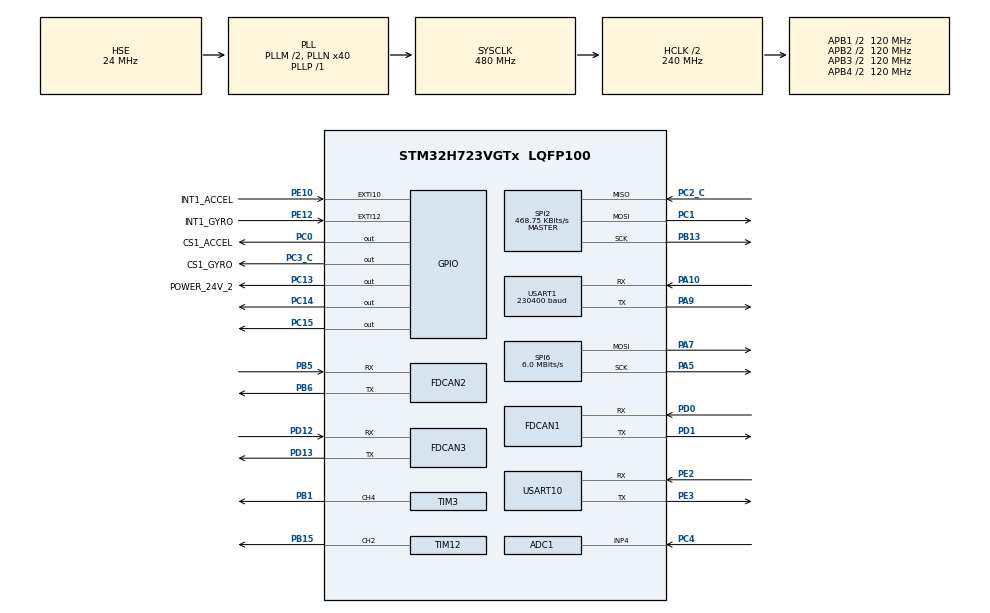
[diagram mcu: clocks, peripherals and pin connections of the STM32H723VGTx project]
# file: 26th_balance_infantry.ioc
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ADC1.Channel-0\#ChannelRegularConversion=ADC_CHANNEL_4
ADC1.Channel-1\#ChannelRegularConversion=ADC_CHANNEL_4
ADC1.ContinuousConvMode=ENABLE
ADC1.ConversionDataManagement=ADC_CONVERSIONDATA_DMA_CIRCULAR
ADC1.NbrOfConversion=2
ADC1.NbrOfConversionFlag=1
ADC1.OffsetNumber-0\#ChannelRegularConversion=ADC_OFFSET_NONE
ADC1.OffsetNumber-1\#ChannelRegularConversion=ADC_OFFSET_NONE
ADC1.OffsetSignedSaturation-0\#ChannelRegularConversion=DISABLE
ADC1.OffsetSignedSaturation-1\#ChannelRegularConversion=DISABLE
ADC1.Rank-0\#ChannelRegularConversion=1
ADC1.Rank-1\#ChannelRegularConversion=2
ADC1.SamplingTime-0\#ChannelRegularConversion=ADC_SAMPLETIME_1CYCLE_5
ADC1.SamplingTime-1\#ChannelRegularConversion=ADC_SAMPLETIME_1CYCLE_5
ADC1.master=1
CORTEX_M7.AccessPermission_Spec=MPU_REGION_FULL_ACCESS
CORTEX_M7.BaseAddress_Spec=0x30000000
CORTEX_M7.CPU_DCache=Enabled
CORTEX_M7.CPU_ICache=Enabled
CORTEX_M7.DisableExec_Spec=MPU_INSTRUCTION_ACCESS_ENABLE
CORTEX_M7.Enable_S-Cortex_Memory_Protection_Unit_Region1_Settings_S=__NULL
CORTEX_M7.Enable_S-Cortex_Memory_Protection_Unit_Region2_Settings_S=__NULL
CORTEX_M7.Enable_S-Cortex_Memory_Protection_Unit_Region3_Settings_S=__NULL
CORTEX_M7.Enable_S-Cortex_Memory_Protection_Unit_Region4_Settings_S=__NULL
CORTEX_M7.Enable_S-Cortex_Memory_Protection_Unit_Region5_Settings_S=__NULL
CORTEX_M7.Enable_Spec=MPU_REGION_ENABLE
CORTEX_M7.IsBufferable_Spec=MPU_ACCESS_NOT_BUFFERABLE
CORTEX_M7.IsCacheable_Spec=MPU_ACCESS_NOT_CACHEABLE
CORTEX_M7.IsShareable_Spec=MPU_ACCESS_SHAREABLE
CORTEX_M7.Size_Spec=MPU_REGION_SIZE_32KB
CORTEX_M7.SubRegionDisable_Spec=0x0
CORTEX_M7.TypeExtField_Spec=MPU_TEX_LEVEL0
CORTEX_M7.default_mode_Activation=1
Dma.ADC1.2.Direction=DMA_PERIPH_TO_MEMORY
Dma.ADC1.2.EventEnable=DISABLE
Dma.ADC1.2.FIFOMode=DMA_FIFOMODE_DISABLE
Dma.ADC1.2.Instance=DMA1_Stream5
Dma.ADC1.2.MemDataAlignment=DMA_MDATAALIGN_HALFWORD
Dma.ADC1.2.MemInc=DMA_MINC_ENABLE
Dma.ADC1.2.Mode=DMA_NORMAL
Dma.ADC1.2.PeriphDataAlignment=DMA_PDATAALIGN_HALFWORD
Dma.ADC1.2.PeriphInc=DMA_PINC_DISABLE
Dma.ADC1.2.Polarity=HAL_DMAMUX_REQ_GEN_RISING
Dma.ADC1.2.Priority=DMA_PRIORITY_LOW
Dma.ADC1.2.RequestNumber=1
Dma.ADC1.2.SignalID=NONE
Dma.ADC1.2.SyncEnable=DISABLE
Dma.ADC1.2.SyncPolarity=HAL_DMAMUX_SYNC_NO_EVENT
Dma.ADC1.2.SyncRequestNumber=1
Dma.ADC1.2.SyncSignalID=NONE
Dma.Request0=SPI2_RX
Dma.Request1=SPI2_TX
Dma.Request2=ADC1
Dma.Request3=USART10_RX
Dma.Request4=USART10_TX
Dma.Request5=USART1_RX
Dma.SPI2_RX.0.Direction=DMA_PERIPH_TO_MEMORY
Dma.SPI2_RX.0.EventEnable=DISABLE
Dma.SPI2_RX.0.FIFOMode=DMA_FIFOMODE_DISABLE
Dma.SPI2_RX.0.Instance=DMA2_Stream3
Dma.SPI2_RX.0.MemDataAlignment=DMA_MDATAALIGN_BYTE
Dma.SPI2_RX.0.MemInc=DMA_MINC_ENABLE
Dma.SPI2_RX.0.Mode=DMA_NORMAL
Dma.SPI2_RX.0.PeriphDataAlignment=DMA_PDATAALIGN_BYTE
Dma.SPI2_RX.0.PeriphInc=DMA_PINC_DISABLE
Dma.SPI2_RX.0.Polarity=HAL_DMAMUX_REQ_GEN_RISING
Dma.SPI2_RX.0.Priority=DMA_PRIORITY_VERY_HIGH
Dma.SPI2_RX.0.RequestNumber=1
Dma.SPI2_RX.0.SignalID=NONE
Dma.SPI2_RX.0.SyncEnable=DISABLE
Dma.SPI2_RX.0.SyncPolarity=HAL_DMAMUX_SYNC_NO_EVENT
Dma.SPI2_RX.0.SyncRequestNumber=1
Dma.SPI2_RX.0.SyncSignalID=NONE
Dma.SPI2_TX.1.Direction=DMA_MEMORY_TO_PERIPH
Dma.SPI2_TX.1.EventEnable=DISABLE
Dma.SPI2_TX.1.FIFOMode=DMA_FIFOMODE_DISABLE
Dma.SPI2_TX.1.Instance=DMA1_Stream1
Dma.SPI2_TX.1.MemDataAlignment=DMA_MDATAALIGN_BYTE
Dma.SPI2_TX.1.MemInc=DMA_MINC_ENABLE
Dma.SPI2_TX.1.Mode=DMA_NORMAL
Dma.SPI2_TX.1.PeriphDataAlignment=DMA_PDATAALIGN_BYTE
Dma.SPI2_TX.1.PeriphInc=DMA_PINC_DISABLE
Dma.SPI2_TX.1.Polarity=HAL_DMAMUX_REQ_GEN_RISING
Dma.SPI2_TX.1.Priority=DMA_PRIORITY_HIGH
Dma.SPI2_TX.1.RequestNumber=1
Dma.SPI2_TX.1.SignalID=NONE
Dma.SPI2_TX.1.SyncEnable=DISABLE
Dma.SPI2_TX.1.SyncPolarity=HAL_DMAMUX_SYNC_NO_EVENT
Dma.SPI2_TX.1.SyncRequestNumber=1
Dma.SPI2_TX.1.SyncSignalID=NONE
Dma.USART10_RX.3.Direction=DMA_PERIPH_TO_MEMORY
Dma.USART10_RX.3.EventEnable=DISABLE
Dma.USART10_RX.3.FIFOMode=DMA_FIFOMODE_DISABLE
Dma.USART10_RX.3.Instance=DMA1_Stream0
Dma.USART10_RX.3.MemDataAlignment=DMA_MDATAALIGN_BYTE
Dma.USART10_RX.3.MemInc=DMA_MINC_ENABLE
Dma.USART10_RX.3.Mode=DMA_NORMAL
Dma.USART10_RX.3.PeriphDataAlignment=DMA_PDATAALIGN_BYTE
Dma.USART10_RX.3.PeriphInc=DMA_PINC_DISABLE
Dma.USART10_RX.3.Polarity=HAL_DMAMUX_REQ_GEN_RISING
Dma.USART10_RX.3.Priority=DMA_PRIORITY_MEDIUM
Dma.USART10_RX.3.RequestNumber=1
Dma.USART10_RX.3.SignalID=NONE
Dma.USART10_RX.3.SyncEnable=DISABLE
Dma.USART10_RX.3.SyncPolarity=HAL_DMAMUX_SYNC_NO_EVENT
Dma.USART10_RX.3.SyncRequestNumber=1
Dma.USART10_RX.3.SyncSignalID=NONE
Dma.USART10_TX.4.Direction=DMA_MEMORY_TO_PERIPH
Dma.USART10_TX.4.EventEnable=DISABLE
Dma.USART10_TX.4.FIFOMode=DMA_FIFOMODE_DISABLE
Dma.USART10_TX.4.Instance=DMA1_Stream2
Dma.USART10_TX.4.MemDataAlignment=DMA_MDATAALIGN_BYTE
Dma.USART10_TX.4.MemInc=DMA_MINC_ENABLE
Dma.USART10_TX.4.Mode=DMA_NORMAL
Dma.USART10_TX.4.PeriphDataAlignment=DMA_PDATAALIGN_BYTE
Dma.USART10_TX.4.PeriphInc=DMA_PINC_DISABLE
Dma.USART10_TX.4.Polarity=HAL_DMAMUX_REQ_GEN_RISING
Dma.USART10_TX.4.Priority=DMA_PRIORITY_MEDIUM
Dma.USART10_TX.4.RequestNumber=1
Dma.USART10_TX.4.SignalID=NONE
Dma.USART10_TX.4.SyncEnable=DISABLE
Dma.USART10_TX.4.SyncPolarity=HAL_DMAMUX_SYNC_NO_EVENT
Dma.USART10_TX.4.SyncRequestNumber=1
Dma.USART10_TX.4.SyncSignalID=NONE
Dma.USART1_RX.5.Direction=DMA_PERIPH_TO_MEMORY
Dma.USART1_RX.5.EventEnable=DISABLE
Dma.USART1_RX.5.FIFOMode=DMA_FIFOMODE_DISABLE
Dma.USART1_RX.5.Instance=DMA1_Stream3
Dma.USART1_RX.5.MemDataAlignment=DMA_MDATAALIGN_BYTE
Dma.USART1_RX.5.MemInc=DMA_MINC_ENABLE
Dma.USART1_RX.5.Mode=DMA_NORMAL
Dma.USART1_RX.5.PeriphDataAlignment=DMA_PDATAALIGN_BYTE
Dma.USART1_RX.5.PeriphInc=DMA_PINC_DISABLE
Dma.USART1_RX.5.Polarity=HAL_DMAMUX_REQ_GEN_RISING
Dma.USART1_RX.5.Priority=DMA_PRIORITY_LOW
Dma.USART1_RX.5.RequestNumber=1
Dma.USART1_RX.5.SignalID=NONE
Dma.USART1_RX.5.SyncEnable=DISABLE
Dma.USART1_RX.5.SyncPolarity=HAL_DMAMUX_SYNC_NO_EVENT
Dma.USART1_RX.5.SyncRequestNumber=1
Dma.USART1_RX.5.SyncSignalID=NONE
FDCAN1.CalculateBaudRateNominal=1000000
FDCAN1.CalculateTimeBitNominal=1000
FDCAN1.CalculateTimeQuantumNominal=25.0
FDCAN1.DataPrescaler=3
FDCAN1.DataSyncJumpWidth=10
FDCAN1.DataTimeSeg1=29
FDCAN1.DataTimeSeg2=10
FDCAN1.NominalPrescaler=3
FDCAN1.NominalSyncJumpWidth=10
FDCAN1.NominalTimeSeg1=29
FDCAN1.NominalTimeSeg2=10
FDCAN1.RxFifo0ElmtSize=FDCAN_DATA_BYTES_32
FDCAN1.RxFifo0ElmtsNbr=4
FDCAN1.StdFiltersNbr=1
FDCAN1.TxBuffersNbr=24
FDCAN1.TxElmtSize=FDCAN_DATA_BYTES_32
FDCAN1.TxFifoQueueElmtsNbr=8
FDCAN2.CalculateBaudRateNominal=1000000
FDCAN2.CalculateTimeBitNominal=1000
FDCAN2.CalculateTimeQuantumNominal=25.0
FDCAN2.DataPrescaler=3
FDCAN2.DataSyncJumpWidth=10
FDCAN2.DataTimeSeg1=29
FDCAN2.DataTimeSeg2=10
FDCAN2.ExtFiltersNbr=2
FDCAN2.MessageRAMOffset=854
FDCAN2.NominalPrescaler=3
FDCAN2.NominalSyncJumpWidth=10
FDCAN2.NominalTimeSeg1=29
FDCAN2.NominalTimeSeg2=10
FDCAN2.RxBufferSize=FDCAN_DATA_BYTES_64
FDCAN2.RxBuffersNbr=1
FDCAN2.RxFifo0ElmtSize=FDCAN_DATA_BYTES_32
FDCAN2.RxFifo0ElmtsNbr=0
FDCAN2.RxFifo1ElmtSize=FDCAN_DATA_BYTES_64
FDCAN2.RxFifo1ElmtsNbr=4
FDCAN2.StdFiltersNbr=2
FDCAN2.TxBuffersNbr=24
FDCAN2.TxElmtSize=FDCAN_DATA_BYTES_32
FDCAN2.TxEventsNbr=16
FDCAN2.TxFifoQueueElmtsNbr=8
FDCAN3.AutoRetransmission=ENABLE
FDCAN3.CalculateBaudRateNominal=1000000
FDCAN3.CalculateTimeBitNominal=1000
FDCAN3.CalculateTimeQuantumNominal=25.0
FDCAN3.DataPrescaler=3
FDCAN3.DataSyncJumpWidth=10
FDCAN3.DataTimeSeg1=29
FDCAN3.DataTimeSeg2=10
FDCAN3.MessageRAMOffset=1709
FDCAN3.NominalPrescaler=3
FDCAN3.NominalSyncJumpWidth=10
FDCAN3.NominalTimeSeg1=29
FDCAN3.NominalTimeSeg2=10
FDCAN3.RxBufferSize=FDCAN_DATA_BYTES_8
FDCAN3.RxBuffersNbr=0
FDCAN3.RxFifo0ElmtSize=FDCAN_DATA_BYTES_32
FDCAN3.RxFifo0ElmtsNbr=16
FDCAN3.StdFiltersNbr=1
FDCAN3.TxBuffersNbr=24
FDCAN3.TxElmtSize=FDCAN_DATA_BYTES_32
FDCAN3.TxFifoQueueElmtsNbr=8
FREERTOS.Tasks01=defaultTask,24,128,StartDefaultTask,Default,NULL,Dynamic,NULL,NULL
FREERTOS.configTOTAL_HEAP_SIZE=24576
Mcu.Family=STM32H7
Mcu.Name=STM32H723VGTx
Mcu.Package=LQFP100
NVIC.DMA1_Stream0_IRQn=true\:5\:0\:false\:false\:true\:true\:false\:true\:true
NVIC.DMA1_Stream1_IRQn=true\:5\:0\:true\:false\:true\:true\:false\:true\:true
NVIC.DMA1_Stream2_IRQn=true\:5\:0\:false\:false\:true\:true\:false\:true\:true
NVIC.DMA1_Stream3_IRQn=true\:5\:0\:false\:false\:true\:true\:false\:true\:true
NVIC.DMA1_Stream5_IRQn=true\:5\:0\:false\:false\:true\:true\:false\:true\:true
NVIC.DMA2_Stream3_IRQn=true\:5\:0\:false\:false\:true\:false\:false\:true\:true
NVIC.EXTI15_10_IRQn=true\:5\:0\:true\:false\:true\:true\:true\:true\:true
NVIC.FDCAN1_IT0_IRQn=true\:6\:0\:true\:false\:true\:true\:true\:true\:true
NVIC.FDCAN2_IT0_IRQn=true\:6\:0\:true\:false\:true\:true\:true\:true\:true
NVIC.FDCAN2_IT1_IRQn=true\:5\:0\:false\:false\:true\:true\:true\:true\:true
NVIC.FDCAN3_IT0_IRQn=true\:6\:0\:true\:false\:true\:true\:true\:true\:true
NVIC.FDCAN3_IT1_IRQn=true\:5\:0\:false\:false\:true\:true\:true\:true\:true
NVIC.PriorityGroup=NVIC_PRIORITYGROUP_4
NVIC.SPI2_IRQn=true\:5\:0\:true\:false\:true\:true\:false\:true\:true
NVIC.TIM2_IRQn=true\:15\:0\:false\:false\:true\:false\:false\:true\:true
NVIC.TimeBase=TIM2_IRQn
NVIC.TimeBaseIP=TIM2
NVIC.USART10_IRQn=true\:5\:0\:false\:false\:true\:true\:true\:true\:true
NVIC.USART1_IRQn=true\:5\:0\:false\:false\:true\:true\:true\:true\:true
PA10.Mode=Asynchronous
PA10.Signal=USART1_RX
PA13(JTMS/SWDIO).Mode=Serial_Wire
PA13(JTMS/SWDIO).Signal=DEBUG_JTMS-SWDIO
PA14(JTCK/SWCLK).Mode=Serial_Wire
PA14(JTCK/SWCLK).Signal=DEBUG_JTCK-SWCLK
PA5.GPIO_Speed=GPIO_SPEED_FREQ_VERY_HIGH
PA5.Mode=TX_Only_Simplex_Unidirect_Master
PA5.Signal=SPI6_SCK
PA7.GPIO_Speed=GPIO_SPEED_FREQ_VERY_HIGH
PA7.Mode=TX_Only_Simplex_Unidirect_Master
PA7.Signal=SPI6_MOSI
PA9.Mode=Asynchronous
PA9.Signal=USART1_TX
PB1.Signal=S_TIM3_CH4
PB13.GPIO_PuPd=GPIO_PULLUP
PB13.GPIO_Speed=GPIO_SPEED_FREQ_VERY_HIGH
PB13.Mode=Full_Duplex_Master
PB13.Signal=SPI2_SCK
PB15.Signal=S_TIM12_CH2
PB5.Mode=FDCAN_Activate
PB5.Signal=FDCAN2_RX
PB6.Mode=FDCAN_Activate
PB6.Signal=FDCAN2_TX
PC0.GPIO_Label=CS1_ACCEL
PC0.GPIO_PuPd=GPIO_PULLUP
PC0.GPIO_Speed=GPIO_SPEED_FREQ_HIGH
PC0.Signal=GPIO_Output
PC1.GPIO_PuPd=GPIO_PULLUP
PC1.GPIO_Speed=GPIO_SPEED_FREQ_VERY_HIGH
PC1.Mode=Full_Duplex_Master
PC1.Signal=SPI2_MOSI
PC13.GPIO_Label=POWER_24V_2
PC13.Signal=GPIO_Output
PC14-OSC32_IN.Signal=GPIO_Output
PC15-OSC32_OUT.PinState=GPIO_PIN_SET
PC15-OSC32_OUT.Signal=GPIO_Output
PC2_C.GPIO_PuPd=GPIO_PULLUP
PC2_C.GPIO_Speed=GPIO_SPEED_FREQ_VERY_HIGH
PC2_C.Mode=Full_Duplex_Master
PC2_C.Signal=SPI2_MISO
PC3_C.GPIO_Label=CS1_GYRO
PC3_C.GPIO_PuPd=GPIO_PULLUP
PC3_C.GPIO_Speed=GPIO_SPEED_FREQ_HIGH
PC3_C.Signal=GPIO_Output
PC4.Signal=ADCx_INP4
PD0.Mode=FDCAN_Activate
PD0.Signal=FDCAN1_RX
PD1.Mode=FDCAN_Activate
PD1.Signal=FDCAN1_TX
PD12.Mode=FDCAN_Activate
PD12.Signal=FDCAN3_RX
PD13.Mode=FDCAN_Activate
PD13.Signal=FDCAN3_TX
PD2.Signal=UART5_RX
PE10.GPIO_Label=INT1_ACCEL
PE10.GPIO_ModeDefaultEXTI=GPIO_MODE_IT_FALLING
PE10.GPIO_PuPd=GPIO_PULLUP
PE10.Signal=GPXTI10
PE12.GPIO_Label=INT1_GYRO
PE12.GPIO_ModeDefaultEXTI=GPIO_MODE_IT_FALLING
PE12.GPIO_PuPd=GPIO_PULLUP
PE12.Signal=GPXTI12
PE2.Mode=Asynchronous
PE2.Signal=USART10_RX
PE3.Mode=Asynchronous
PE3.Signal=USART10_TX
PH0-OSC_IN.Mode=HSE-External-Oscillator
PH0-OSC_IN.Signal=RCC_OSC_IN
PH1-OSC_OUT.Mode=HSE-External-Oscillator
PH1-OSC_OUT.Signal=RCC_OSC_OUT
ProjectManager.HeapSize=0x2000
ProjectManager.StackSize=0x2000
ProjectManager.TargetToolchain=CMake
RCC.ADCFreq_Value=96000000
RCC.APB1Freq_Value=120000000
RCC.APB2Freq_Value=120000000
RCC.APB3Freq_Value=120000000
RCC.APB4Freq_Value=120000000
RCC.CortexFreq_Value=480000000
RCC.D1PPRE=RCC_APB3_DIV2
RCC.D2PPRE1=RCC_APB1_DIV2
RCC.D2PPRE2=RCC_APB2_DIV2
RCC.D3PPRE=RCC_APB4_DIV2
RCC.DIVM1=2
RCC.DIVM2=2
RCC.DIVN1=40
RCC.DIVN2=16
RCC.DIVP1=1
RCC.DIVQ1=4
RCC.HCLKFreq_Value=240000000
RCC.HPRE=RCC_HCLK_DIV2
RCC.HSE_VALUE=24000000
RCC.PLLFRACN=0
RCC.PLLSourceVirtual=RCC_PLLSOURCE_HSE
RCC.SPI6CLockSelection=RCC_SPI6CLKSOURCE_HSE
RCC.SYSCLKFreq_VALUE=480000000
RCC.SYSCLKSource=RCC_SYSCLKSOURCE_PLLCLK
RCC.USBFreq_Value=120000000
SH.ADCx_INP4.0=ADC1_INP4,IN4-Single-Ended
SH.S_TIM12_CH2.0=TIM12_CH2,PWM Generation2 CH2
SH.S_TIM3_CH4.0=TIM3_CH4,PWM Generation4 CH4
SPI2.BaudRatePrescaler=SPI_BAUDRATEPRESCALER_256
SPI2.CLKPhase=SPI_PHASE_2EDGE
SPI2.CLKPolarity=SPI_POLARITY_HIGH
SPI2.CalculateBaudRate=468.75 KBits/s
SPI2.DataSize=SPI_DATASIZE_8BIT
SPI2.Direction=SPI_DIRECTION_2LINES
SPI2.Mode=SPI_MODE_MASTER
SPI2.VirtualType=VM_MASTER
SPI6.BaudRatePrescaler=SPI_BAUDRATEPRESCALER_4
SPI6.CLKPhase=SPI_PHASE_2EDGE
SPI6.CalculateBaudRate=6.0 MBits/s
SPI6.DataSize=SPI_DATASIZE_8BIT
SPI6.Direction=SPI_DIRECTION_2LINES_TXONLY
SPI6.Mode=SPI_MODE_MASTER
SPI6.VirtualType=VM_MASTER
STMicroelectronics.X-CUBE-ALGOBUILD.1.4.0.LibraryCcDSPOoLibraryJjDSPOoLibrary=true
TIM12.Channel-PWM\ Generation2\ CH2=TIM_CHANNEL_2
TIM12.Period=2000-1
TIM12.Prescaler=24-1
TIM3.Channel-PWM\ Generation4\ CH4=TIM_CHANNEL_4
TIM3.Period=5000-1
USART1.BaudRate=230400
USART1.VirtualMode-Asynchronous=VM_ASYNC
USART10.VirtualMode=VM_ASYNC
VP_CRC_VS_CRC.Mode=CRC_Activate
VP_FREERTOS_VS_CMSIS_V2.Mode=CMSIS_V2
VP_MEMORYMAP_VS_MEMORYMAP.Mode=CurAppReg
VP_STMicroelectronics.X-CUBE-ALGOBUILD_VS_DSPOoLibraryJjLibrary_1.4.0_1.4.0.Mode=DSPOoLibraryJjLibrary
VP_SYS_VS_tim2.Mode=TIM2
VP_TIM12_VS_ClockSourceINT.Mode=Internal
VP_TIM3_VS_ClockSourceINT.Mode=Internal
board=custom

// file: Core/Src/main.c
/* USER CODE BEGIN Header */
/**
 ******************************************************************************
 * @file           : main.c
 * @brief          : Main program body
 ******************************************************************************
 * @attention
 *
 * Copyright (c) 2025 STMicroelectronics.
 * All rights reserved.
 *
 * This software is licensed under terms that can be found in the LICENSE file
 * in the root directory of this software component.
 * If no LICENSE file comes with this software, it is provided AS-IS.
 *
 ******************************************************************************
 */
/* USER CODE END Header */
#include "main.h"
#include "cmsis_os.h"
#include "adc.h"
#include "crc.h"
#include "dma.h"
#include "fdcan.h"
#include "spi.h"
#include "tim.h"
#include "usart.h"
#include "gpio.h"

/* USER CODE BEGIN Includes */
#include "bsp_can.h"
#include "BMI088driver.h"
#include "bsp_dwt.h"
#include "Dev_Referee.h"
#include "Dev_LiDAR.h"
/* USER CODE END Includes */

void SystemClock_Config(void);
static void MPU_Config(void);
void MX_FREERTOS_Init(void);

int main(void)
{

  /* MPU Configuration--------------------------------------------------------*/
  MPU_Config();

  /* Enable the CPU Cache */

  /* Enable I-Cache---------------------------------------------------------*/
  SCB_EnableICache();

  /* Enable D-Cache---------------------------------------------------------*/
  SCB_EnableDCache();

  /* MCU Configuration--------------------------------------------------------*/

  /* Reset of all peripherals, Initializes the Flash interface and the Systick. */
  HAL_Init();

  /* Configure the system clock */
  SystemClock_Config();

  /* Initialize all configured peripherals */
  MX_GPIO_Init();
  MX_DMA_Init();
  MX_FDCAN1_Init();
  MX_FDCAN2_Init();
  MX_FDCAN3_Init();
  MX_SPI2_Init();
  MX_SPI6_Init();
  MX_TIM3_Init();
  MX_TIM12_Init();
  MX_ADC1_Init();
  MX_CRC_Init();
  MX_USART10_UART_Init();
  MX_USART1_UART_Init();
  /* USER CODE BEGIN 2 */

  DWT_Init(480);
  can_filter_init();
  BMI088_Init(&hspi2, 0);
  Referee_Init();
  LiDAR_Init();
  /* USER CODE END 2 */

  /* Init scheduler */
  osKernelInitialize();  /* Call init function for freertos objects (in cmsis_os2.c) */
  MX_FREERTOS_Init();

  /* Start scheduler */
  osKernelStart();

  /* We should never get here as control is now taken by the scheduler */

  /* Infinite loop */
  while (1)
  {

  }
}

void SystemClock_Config(void)
{
  RCC_OscInitTypeDef RCC_OscInitStruct = {0};
  RCC_ClkInitTypeDef RCC_ClkInitStruct = {0};

  /** Supply configuration update enable
  */
  HAL_PWREx_ConfigSupply(PWR_LDO_SUPPLY);

  /** Configure the main internal regulator output voltage
  */
  __HAL_PWR_VOLTAGESCALING_CONFIG(PWR_REGULATOR_VOLTAGE_SCALE0);

  while(!__HAL_PWR_GET_FLAG(PWR_FLAG_VOSRDY)) {}

  /** Initializes the RCC Oscillators according to the specified parameters
  * in the RCC_OscInitTypeDef structure.
  */
  RCC_OscInitStruct.OscillatorType = RCC_OSCILLATORTYPE_HSE;
  RCC_OscInitStruct.HSEState = RCC_HSE_ON;
  RCC_OscInitStruct.PLL.PLLState = RCC_PLL_ON;
  RCC_OscInitStruct.PLL.PLLSource = RCC_PLLSOURCE_HSE;
  RCC_OscInitStruct.PLL.PLLM = 2;
  RCC_OscInitStruct.PLL.PLLN = 40;
  RCC_OscInitStruct.PLL.PLLP = 1;
  RCC_OscInitStruct.PLL.PLLQ = 4;
  RCC_OscInitStruct.PLL.PLLR = 2;
  RCC_OscInitStruct.PLL.PLLRGE = RCC_PLL1VCIRANGE_3;
  RCC_OscInitStruct.PLL.PLLVCOSEL = RCC_PLL1VCOWIDE;
  RCC_OscInitStruct.PLL.PLLFRACN = 0;
  if (HAL_RCC_OscConfig(&RCC_OscInitStruct) != HAL_OK)
  {
    Error_Handler();
  }

  /** Initializes the CPU, AHB and APB buses clocks
  */
  RCC_ClkInitStruct.ClockType = RCC_CLOCKTYPE_HCLK|RCC_CLOCKTYPE_SYSCLK
                              |RCC_CLOCKTYPE_PCLK1|RCC_CLOCKTYPE_PCLK2
                              |RCC_CLOCKTYPE_D3PCLK1|RCC_CLOCKTYPE_D1PCLK1;
  RCC_ClkInitStruct.SYSCLKSource = RCC_SYSCLKSOURCE_PLLCLK;
  RCC_ClkInitStruct.SYSCLKDivider = RCC_SYSCLK_DIV1;
  RCC_ClkInitStruct.AHBCLKDivider = RCC_HCLK_DIV2;
  RCC_ClkInitStruct.APB3CLKDivider = RCC_APB3_DIV2;
  RCC_ClkInitStruct.APB1CLKDivider = RCC_APB1_DIV2;
  RCC_ClkInitStruct.APB2CLKDivider = RCC_APB2_DIV2;
  RCC_ClkInitStruct.APB4CLKDivider = RCC_APB4_DIV2;

  if (HAL_RCC_ClockConfig(&RCC_ClkInitStruct, FLASH_LATENCY_3) != HAL_OK)
  {
    Error_Handler();
  }
}

 /* MPU Configuration */

void MPU_Config(void)
{
  MPU_Region_InitTypeDef MPU_InitStruct = {0};

  /* Disables the MPU */
  HAL_MPU_Disable();

  /** Initializes and configures the Region and the memory to be protected
  */
  MPU_InitStruct.Enable = MPU_REGION_ENABLE;
  MPU_InitStruct.Number = MPU_REGION_NUMBER0;
  MPU_InitStruct.BaseAddress = 0x30000000;
  MPU_InitStruct.Size = MPU_REGION_SIZE_32KB;
  MPU_InitStruct.SubRegionDisable = 0x0;
  MPU_InitStruct.TypeExtField = MPU_TEX_LEVEL0;
  MPU_InitStruct.AccessPermission = MPU_REGION_FULL_ACCESS;
  MPU_InitStruct.DisableExec = MPU_INSTRUCTION_ACCESS_ENABLE;
  MPU_InitStruct.IsShareable = MPU_ACCESS_SHAREABLE;
  MPU_InitStruct.IsCacheable = MPU_ACCESS_NOT_CACHEABLE;
  MPU_InitStruct.IsBufferable = MPU_ACCESS_NOT_BUFFERABLE;

  HAL_MPU_ConfigRegion(&MPU_InitStruct);
  /* Enables the MPU */
  HAL_MPU_Enable(MPU_PRIVILEGED_DEFAULT);

}

void HAL_TIM_PeriodElapsedCallback(TIM_HandleTypeDef *htim)
{
  if (htim->Instance == TIM2)
  {
    HAL_IncTick();
  }
}

void Error_Handler(void)
{
  __disable_irq();
  while (1)
  {
  }
}

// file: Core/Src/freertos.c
/* USER CODE BEGIN Header */
/**
 ******************************************************************************
 * File Name          : freertos.c
 * Description        : Code for freertos applications
 ******************************************************************************
 * @attention
 *
 * Copyright (c) 2025 STMicroelectronics.
 * All rights reserved.
 *
 * This software is licensed under terms that can be found in the LICENSE file
 * in the root directory of this software component.
 * If no LICENSE file comes with this software, it is provided AS-IS.
 *
 ******************************************************************************
 */
/* USER CODE END Header */

#include "FreeRTOS.h"
#include "task.h"
#include "main.h"
#include "cmsis_os.h"

/* USER CODE BEGIN Includes */
#include "App_Chassis_Task.h"
#include "INS_task.h"
#include "App_Detect_Task.h"
#include "led_flow_task.h"
#include "APP_Buzzer.h"
#include "App_Referee_Task.h"
#include "APL_PowerLimitator.hpp"
#include "APL_SuperCap.hpp"
#include "App_UI_Task.h"
/* USER CODE END Includes */

/* Definitions for defaultTask */
osThreadId_t defaultTaskHandle;
const osThreadAttr_t defaultTask_attributes = {
  .name = "defaultTask",
  .stack_size = 128 * 4,
  .priority = (osPriority_t) osPriorityNormal,
};

void StartDefaultTask(void *argument);

void MX_FREERTOS_Init(void); /* (MISRA C 2004 rule 8.1) */

void MX_FREERTOS_Init(void) {

  /* Create the thread(s) */
  /* creation of defaultTask */
  defaultTaskHandle = osThreadNew(StartDefaultTask, NULL, &defaultTask_attributes);

  /* USER CODE BEGIN RTOS_THREADS */
  /* add threads, ... */
  /* 创建检测任务 */
  xTaskCreate(Detect_Task, "Detect_Task", 512, NULL, osPriorityNormal, NULL);

  /* 创建底盘任务 */
  xTaskCreate(Chassis_Task, "Chassis_Task", 2048, NULL, osPriorityNormal, NULL);

  /* 创建IMU解算任务 */
  xTaskCreate(INS_task, "INS_Task", 1024, NULL, osPriorityRealtime, NULL);

  /* 创建校准任务 */
  // xTaskCreate(Calibrate_Task, "Calibrate_Task", 512, NULL, osPriorityNormal, NULL);

  /* 创建LED闪烁任务done */
  xTaskCreate(led_RGB_flow_task, "LED_RGB_Flow_Task", 256, NULL, osPriorityNormal, NULL);

  /* 创建蜂鸣器报警任务done */
  xTaskCreate(buzzer_task, "Buzzer_Task", 128, NULL, osPriorityNormal, NULL);

  /* 创建裁判系统解包任务 */
  xTaskCreate(Referee_Task, "referee_task", 128, NULL, osPriorityNormal, NULL);

  /* 创建UI发送任务 */
  xTaskCreate(UI_Task, "UI_Task", 512, NULL, osPriorityNormal, NULL);

  /*创建功率控制任务*/
  xTaskCreate(PowerLimitator_Task, "PowerLimitator_Task", 512, NULL, osPriorityNormal, NULL);

  /*创建超级电容任务*/
  xTaskCreate(SuperCap_Task, "SuperCap_Task", 256, NULL, osPriorityNormal, NULL);
  /* USER CODE END RTOS_THREADS */

}

void StartDefaultTask(void *argument)
{
  for (;;)
  {
    osDelay(1);
  }
}
